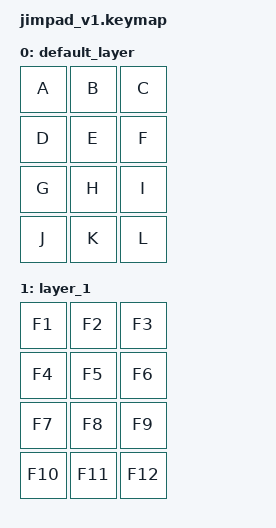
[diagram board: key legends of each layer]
#include <behaviors.dtsi>
#include <dt-bindings/zmk/keys.h>

/ {
    keymap {
        compatible = "zmk,keymap";

        default_layer {
            bindings = <
                &kp A &kp B &kp C
                &kp D &kp E &kp F
                &kp G &kp H &kp I
                &kp J &kp K &kp L
            >;
        };

        layer_1 {
            bindings = <
                &kp F1 &kp F2 &kp F3
                &kp F4 &kp F5 &kp F6
                &kp F7 &kp F8 &kp F9
                &kp F10 &kp F11 &kp F12
            >;
        };
    };
};
